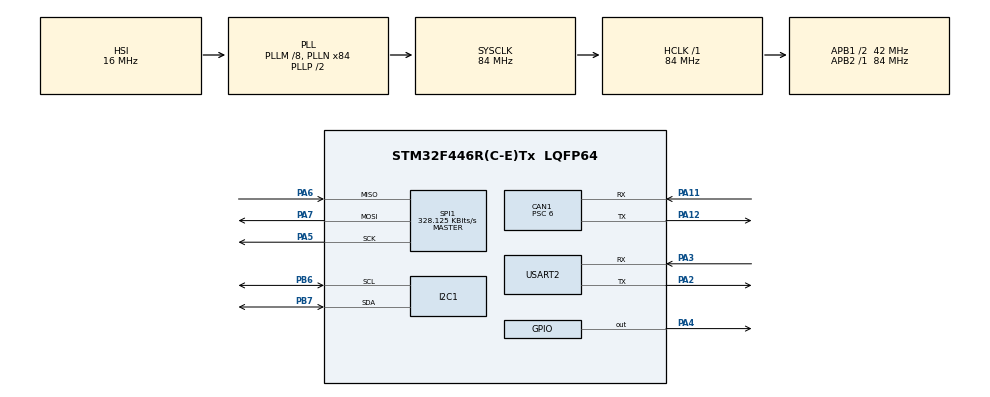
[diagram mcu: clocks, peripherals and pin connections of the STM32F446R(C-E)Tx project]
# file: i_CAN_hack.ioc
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CAN1.ABOM=ENABLE
CAN1.BS1=CAN_BS1_11TQ
CAN1.BS2=CAN_BS2_2TQ
CAN1.CalculateBaudRate=500000
CAN1.CalculateTimeBit=2000
CAN1.CalculateTimeQuantum=142.85714285714286
CAN1.Mode=CAN_MODE_NORMAL
CAN1.NART=ENABLE
CAN1.Prescaler=6
CAN1.SJW=CAN_SJW_1TQ
FREERTOS.INCLUDE_vTaskDelayUntil=1
FREERTOS.Tasks01=defaultTask,0,128,StartDefaultTask,Default,NULL,Dynamic,NULL,NULL
FREERTOS.configUSE_NEWLIB_REENTRANT=1
I2C1.I2C_Mode=I2C_Fast
Mcu.Family=STM32F4
Mcu.Name=STM32F446R(C-E)Tx
Mcu.Package=LQFP64
NVIC.CAN1_RX0_IRQn=true\:6\:0\:true\:false\:true\:true\:true\:true\:true
NVIC.PriorityGroup=NVIC_PRIORITYGROUP_4
NVIC.TIM6_DAC_IRQn=true\:15\:0\:false\:false\:true\:false\:false\:true\:true
NVIC.TimeBase=TIM6_DAC_IRQn
NVIC.TimeBaseIP=TIM6
NVIC.USART2_IRQn=true\:6\:0\:true\:false\:true\:true\:true\:true\:true
PA11.Mode=CAN_Activate
PA11.Signal=CAN1_RX
PA12.Mode=CAN_Activate
PA12.Signal=CAN1_TX
PA2.Mode=Asynchronous
PA2.Signal=USART2_TX
PA3.Mode=Asynchronous
PA3.Signal=USART2_RX
PA4.Signal=GPIO_Output
PA5.Mode=Full_Duplex_Master
PA5.Signal=SPI1_SCK
PA6.GPIO_PuPd=GPIO_PULLUP
PA6.Mode=Full_Duplex_Master
PA6.Signal=SPI1_MISO
PA7.Mode=Full_Duplex_Master
PA7.Signal=SPI1_MOSI
PB6.Mode=I2C
PB6.Signal=I2C1_SCL
PB7.Mode=I2C
PB7.Signal=I2C1_SDA
ProjectManager.HeapSize=0x200
ProjectManager.StackSize=0x400
ProjectManager.TargetToolchain=STM32CubeIDE
RCC.AHBFreq_Value=84000000
RCC.APB1CLKDivider=RCC_HCLK_DIV2
RCC.APB1Freq_Value=42000000
RCC.APB1TimFreq_Value=84000000
RCC.APB2Freq_Value=84000000
RCC.APB2TimFreq_Value=84000000
RCC.CortexFreq_Value=84000000
RCC.HCLKFreq_Value=84000000
RCC.PLLM=8
RCC.PLLN=84
RCC.SYSCLKFreq_VALUE=84000000
RCC.SYSCLKSource=RCC_SYSCLKSOURCE_PLLCLK
RCC.USBFreq_Value=84000000
RCC.VCOOutputFreq_Value=168000000
SPI1.BaudRatePrescaler=SPI_BAUDRATEPRESCALER_256
SPI1.CalculateBaudRate=328.125 KBits/s
SPI1.Direction=SPI_DIRECTION_2LINES
SPI1.Mode=SPI_MODE_MASTER
SPI1.VirtualType=VM_MASTER
USART2.VirtualMode=VM_ASYNC
VP_FATFS_VS_Generic.Mode=User_defined
VP_FREERTOS_VS_CMSIS_V1.Mode=CMSIS_V1
VP_SYS_VS_tim6.Mode=TIM6
board=custom

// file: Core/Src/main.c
/* USER CODE BEGIN Header */
/**
  ******************************************************************************
  * @file           : main.c
  * @brief          : Main program body
  ******************************************************************************
  * @attention
  *
  * Copyright (c) 2026 STMicroelectronics.
  * All rights reserved.
  *
  * This software is licensed under terms that can be found in the LICENSE file
  * in the root directory of this software component.
  * If no LICENSE file comes with this software, it is provided AS-IS.
  *
  ******************************************************************************
  */
/* USER CODE END Header */
#include "main.h"
#include "cmsis_os.h"
#include "fatfs.h"

/* USER CODE BEGIN Includes */
#include "app.h"
#include <stm32f4xx_hal_can.h>
#include <string.h>
#include <stdio.h>
#include "FreeRTOS.h"
#include "task.h"
#include "queue.h"
#include "stream_buffer.h"
#include <stdlib.h>
#include "ssd1306.h"
#include "ssd1306_fonts.h"
#include "anomaly.h"
#include "sd_spi.h"
#include "sd_logger.h"
/* USER CODE END Includes */

CAN_HandleTypeDef hcan1;

I2C_HandleTypeDef hi2c1;

SPI_HandleTypeDef hspi1;

UART_HandleTypeDef huart2;

osThreadId defaultTaskHandle;
/* USER CODE BEGIN PV */
TaskHandle_t canTaskHandle;
TaskHandle_t cliTaskHandle;
TaskHandle_t loggerTaskHandle;
TaskHandle_t oledTaskHandle;
TaskHandle_t statsTaskHandle;
TaskHandle_t sdTaskHandle;

QueueHandle_t canRxQueue;   /* CAN ISR -> CanTask */
QueueHandle_t logQueue;     /* producers -> LoggerTask */

volatile uint32_t statTotalFrames = 0;

/* OLED dashboard: single source of truth for displayed data + its mutex.
 * Producers publish a snapshot under g_oledMutex; OledTask reads a copy. */
OledTelemetry_t   g_oledTel;
SemaphoreHandle_t g_oledMutex;
QueueHandle_t     oledAlertQueue;
volatile int32_t  g_pageRequest = -1;
volatile int32_t  g_pageRequestIsSnap = 0;

StreamBufferHandle_t uartRxStream;   /* UART ISR -> CliTask */
uint8_t uartRxByte;                  /* single-byte HAL_UART_Receive_IT target */

/* Menu/command state owned by CliTask (defined in app.c). */
extern LoggerMode_t currentMode;
extern UART_State_t uartState;
extern uint32_t userFilterID;
extern uint8_t  filterConfigured;
extern char     filterInputBuffer[10];
extern uint8_t  filterInputIndex;
extern char     txInputBuffer[50];
extern uint8_t  txInputIndex;
extern volatile uint32_t speedFrameCount;
extern uint32_t lastSpeedPrintTick;
extern uint8_t  Logger_ShouldLog(uint32_t id);
/* USER CODE END PV */

void SystemClock_Config(void);
static void MX_GPIO_Init(void);
static void MX_CAN1_Init(void);
static void MX_USART2_UART_Init(void);
static void MX_I2C1_Init(void);
static void MX_SPI1_Init(void);
void StartDefaultTask(void const * argument);

/* USER CODE BEGIN PFP */
void StartCanTask(void *argument);
void StartCliTask(void *argument);
void StartLoggerTask(void *argument);
void StartOledTask(void *argument);
void StartStatsTask(void *argument);
/* StartSdTask is declared in sd_logger.h */
/* USER CODE END PFP */

int main(void)
{

  /* MCU Configuration--------------------------------------------------------*/

  /* Reset of all peripherals, Initializes the Flash interface and the Systick. */
  HAL_Init();

  /* Configure the system clock */
  SystemClock_Config();

  /* Initialize all configured peripherals */
  MX_GPIO_Init();
  MX_CAN1_Init();
  MX_USART2_UART_Init();
  MX_I2C1_Init();
  MX_SPI1_Init();
  MX_FATFS_Init();
  /* USER CODE BEGIN 2 */
  char test[] = "UART OK\r\n";
  HAL_UART_Transmit(&huart2, (uint8_t *)test, sizeof(test)-1, HAL_MAX_DELAY);

  /* Start CAN with RX FIFO0 notification (the ISR feeds canRxQueue). */
  CAN1_FilterConfig();
  if (HAL_CAN_Start(&hcan1) != HAL_OK)
  {
    Error_Handler();
  }
  HAL_CAN_ActivateNotification(&hcan1, CAN_IT_RX_FIFO0_MSG_PENDING);

  /* Arm UART RX interrupt (the ISR feeds uartRxStream). */
  HAL_UART_Receive_IT(&huart2, &uartRxByte, 1);
  /* USER CODE END 2 */

  /* USER CODE BEGIN RTOS_QUEUES */
  canRxQueue = xQueueCreate(16, sizeof(CanFrame_t));
  if (canRxQueue == NULL)
  {
    Error_Handler();
  }

  uartRxStream = xStreamBufferCreate(64, 1);   /* 64 bytes, trigger level 1 */
  if (uartRxStream == NULL)
  {
    Error_Handler();
  }

  logQueue = xQueueCreate(16, sizeof(LogMsg_t));
  if (logQueue == NULL)
  {
    Error_Handler();
  }

  /* OLED dashboard: mutex for the shared telemetry struct + alert queue. */
  g_oledMutex = xSemaphoreCreateMutex();
  if (g_oledMutex == NULL)
  {
    Error_Handler();
  }

  oledAlertQueue = xQueueCreate(4, sizeof(OledAlert_t));
  if (oledAlertQueue == NULL)
  {
    Error_Handler();
  }

  /* Telemetry starts zeroed; mode reflects the boot default. */
  memset(&g_oledTel, 0, sizeof(g_oledTel));
  g_oledTel.mode = currentMode;

  /* Phase B: start anomaly detection + its auto-learn window. */
  Anomaly_Init(HAL_GetTick());

  /* SD logging: record queue + logger state (file opened lazily by SdTask). */
  sdQueue = xQueueCreate(32, sizeof(SdRecord_t));
  if (sdQueue == NULL)
  {
    Error_Handler();
  }
  SD_Logger_Init();
  /* USER CODE END RTOS_QUEUES */

  /* Create the thread(s) */
  /* definition and creation of defaultTask */
  osThreadDef(defaultTask, StartDefaultTask, osPriorityNormal, 0, 128);
  defaultTaskHandle = osThreadCreate(osThread(defaultTask), NULL);

  /* USER CODE BEGIN RTOS_THREADS */
  xTaskCreate(StartCanTask,    "CanTask",    256, NULL, tskIDLE_PRIORITY + 3, &canTaskHandle);
  xTaskCreate(StartCliTask,    "CliTask",    256, NULL, tskIDLE_PRIORITY + 2, &cliTaskHandle);
  xTaskCreate(StartLoggerTask, "LoggerTask", 256, NULL, tskIDLE_PRIORITY + 1, &loggerTaskHandle);
  xTaskCreate(StartOledTask,   "OledTask",   256, NULL, tskIDLE_PRIORITY + 1, &oledTaskHandle);
  xTaskCreate(StartStatsTask,  "StatsTask",  128, NULL, tskIDLE_PRIORITY + 1, &statsTaskHandle);
  /* SD logger task: larger stack for FatFs (f_write/f_sync use ~512B sector ops). */
  xTaskCreate(StartSdTask,     "SdTask",     512, NULL, tskIDLE_PRIORITY + 1, &sdTaskHandle);
  /* USER CODE END RTOS_THREADS */

  /* Start scheduler */
  osKernelStart();

  /* We should never get here as control is now taken by the scheduler */

  /* Infinite loop */
  while (1)
  {

  }
}

void SystemClock_Config(void)
{
  RCC_OscInitTypeDef RCC_OscInitStruct = {0};
  RCC_ClkInitTypeDef RCC_ClkInitStruct = {0};

  /** Configure the main internal regulator output voltage
  */
  __HAL_RCC_PWR_CLK_ENABLE();
  __HAL_PWR_VOLTAGESCALING_CONFIG(PWR_REGULATOR_VOLTAGE_SCALE3);

  /** Initializes the RCC Oscillators according to the specified parameters
  * in the RCC_OscInitTypeDef structure.
  */
  RCC_OscInitStruct.OscillatorType = RCC_OSCILLATORTYPE_HSI;
  RCC_OscInitStruct.HSIState = RCC_HSI_ON;
  RCC_OscInitStruct.HSICalibrationValue = RCC_HSICALIBRATION_DEFAULT;
  RCC_OscInitStruct.PLL.PLLState = RCC_PLL_ON;
  RCC_OscInitStruct.PLL.PLLSource = RCC_PLLSOURCE_HSI;
  RCC_OscInitStruct.PLL.PLLM = 8;
  RCC_OscInitStruct.PLL.PLLN = 84;
  RCC_OscInitStruct.PLL.PLLP = RCC_PLLP_DIV2;
  RCC_OscInitStruct.PLL.PLLQ = 2;
  RCC_OscInitStruct.PLL.PLLR = 2;
  if (HAL_RCC_OscConfig(&RCC_OscInitStruct) != HAL_OK)
  {
    Error_Handler();
  }

  /** Initializes the CPU, AHB and APB buses clocks
  */
  RCC_ClkInitStruct.ClockType = RCC_CLOCKTYPE_HCLK|RCC_CLOCKTYPE_SYSCLK
                              |RCC_CLOCKTYPE_PCLK1|RCC_CLOCKTYPE_PCLK2;
  RCC_ClkInitStruct.SYSCLKSource = RCC_SYSCLKSOURCE_PLLCLK;
  RCC_ClkInitStruct.AHBCLKDivider = RCC_SYSCLK_DIV1;
  RCC_ClkInitStruct.APB1CLKDivider = RCC_HCLK_DIV2;
  RCC_ClkInitStruct.APB2CLKDivider = RCC_HCLK_DIV1;

  if (HAL_RCC_ClockConfig(&RCC_ClkInitStruct, FLASH_LATENCY_2) != HAL_OK)
  {
    Error_Handler();
  }
}

static void MX_CAN1_Init(void)
{

  hcan1.Instance = CAN1;
  hcan1.Init.Prescaler = 6;
  hcan1.Init.Mode = CAN_MODE_NORMAL;
  hcan1.Init.SyncJumpWidth = CAN_SJW_1TQ;
  hcan1.Init.TimeSeg1 = CAN_BS1_11TQ;
  hcan1.Init.TimeSeg2 = CAN_BS2_2TQ;
  hcan1.Init.TimeTriggeredMode = DISABLE;
  hcan1.Init.AutoBusOff = ENABLE;
  hcan1.Init.AutoWakeUp = DISABLE;
  hcan1.Init.AutoRetransmission = ENABLE;
  hcan1.Init.ReceiveFifoLocked = DISABLE;
  hcan1.Init.TransmitFifoPriority = DISABLE;
  if (HAL_CAN_Init(&hcan1) != HAL_OK)
  {
    Error_Handler();
  }
  /* USER CODE BEGIN CAN1_Init 2 */
  /* CAN clock = APB1 = 42 MHz; 42MHz / (6 * (1+11+2)TQ) = 500 kbps */
  /* USER CODE END CAN1_Init 2 */

}

static void MX_I2C1_Init(void)
{

  hi2c1.Instance = I2C1;
  hi2c1.Init.ClockSpeed = 400000;
  hi2c1.Init.DutyCycle = I2C_DUTYCYCLE_2;
  hi2c1.Init.OwnAddress1 = 0;
  hi2c1.Init.AddressingMode = I2C_ADDRESSINGMODE_7BIT;
  hi2c1.Init.DualAddressMode = I2C_DUALADDRESS_DISABLE;
  hi2c1.Init.OwnAddress2 = 0;
  hi2c1.Init.GeneralCallMode = I2C_GENERALCALL_DISABLE;
  hi2c1.Init.NoStretchMode = I2C_NOSTRETCH_DISABLE;
  if (HAL_I2C_Init(&hi2c1) != HAL_OK)
  {
    Error_Handler();
  }

}

static void MX_SPI1_Init(void)
{

  /* SPI1 parameter configuration*/
  hspi1.Instance = SPI1;
  hspi1.Init.Mode = SPI_MODE_MASTER;
  hspi1.Init.Direction = SPI_DIRECTION_2LINES;
  hspi1.Init.DataSize = SPI_DATASIZE_8BIT;
  hspi1.Init.CLKPolarity = SPI_POLARITY_LOW;
  hspi1.Init.CLKPhase = SPI_PHASE_1EDGE;
  hspi1.Init.NSS = SPI_NSS_SOFT;
  hspi1.Init.BaudRatePrescaler = SPI_BAUDRATEPRESCALER_256;
  hspi1.Init.FirstBit = SPI_FIRSTBIT_MSB;
  hspi1.Init.TIMode = SPI_TIMODE_DISABLE;
  hspi1.Init.CRCCalculation = SPI_CRCCALCULATION_DISABLE;
  hspi1.Init.CRCPolynomial = 10;
  if (HAL_SPI_Init(&hspi1) != HAL_OK)
  {
    Error_Handler();
  }

}

static void MX_USART2_UART_Init(void)
{

  huart2.Instance = USART2;
  huart2.Init.BaudRate = 115200;
  huart2.Init.WordLength = UART_WORDLENGTH_8B;
  huart2.Init.StopBits = UART_STOPBITS_1;
  huart2.Init.Parity = UART_PARITY_NONE;
  huart2.Init.Mode = UART_MODE_TX_RX;
  huart2.Init.HwFlowCtl = UART_HWCONTROL_NONE;
  huart2.Init.OverSampling = UART_OVERSAMPLING_16;
  if (HAL_UART_Init(&huart2) != HAL_OK)
  {
    Error_Handler();
  }

}

static void MX_GPIO_Init(void)
{
  GPIO_InitTypeDef GPIO_InitStruct = {0};

  /* GPIO Ports Clock Enable */
  __HAL_RCC_GPIOA_CLK_ENABLE();
  __HAL_RCC_GPIOB_CLK_ENABLE();

  /*Configure GPIO pin Output Level */
  HAL_GPIO_WritePin(GPIOA, GPIO_PIN_4, GPIO_PIN_RESET);

  /*Configure GPIO pin : PA4 */
  GPIO_InitStruct.Pin = GPIO_PIN_4;
  GPIO_InitStruct.Mode = GPIO_MODE_OUTPUT_PP;
  GPIO_InitStruct.Pull = GPIO_NOPULL;
  GPIO_InitStruct.Speed = GPIO_SPEED_FREQ_LOW;
  HAL_GPIO_Init(GPIOA, &GPIO_InitStruct);

  /* USER CODE BEGIN MX_GPIO_Init_2 */
  /* PA5 is SPI1_SCK for the SD card (configured by MX_SPI1_Init), so the old
   * LED GPIO-output setup that used to live here was removed - driving SCK as
   * a GPIO output would conflict with SPI. CS (PA4) is configured above. */
  /* USER CODE END MX_GPIO_Init_2 */
}

/* USER CODE BEGIN 4 */

/* Lean CAN RX ISR: read the frame and push it onto canRxQueue. All
 * filtering/logging/stats happen in CanTask. */
void HAL_CAN_RxFifo0MsgPendingCallback(CAN_HandleTypeDef *hcan)
{
  CAN_RxHeaderTypeDef rxHeader;
  uint8_t rxData[8];

  if (HAL_CAN_GetRxMessage(hcan, CAN_RX_FIFO0, &rxHeader, rxData) != HAL_OK)
  {
    return;
  }

  CanFrame_t frame;
  frame.id = (rxHeader.IDE == CAN_ID_STD) ? rxHeader.StdId : rxHeader.ExtId;
  frame.dlc = rxHeader.DLC;
  frame.timestamp = HAL_GetTick();
  memcpy(frame.data, rxData, 8);

  BaseType_t higherPriorityTaskWoken = pdFALSE;
  xQueueSendFromISR(canRxQueue, &frame, &higherPriorityTaskWoken);
  portYIELD_FROM_ISR(higherPriorityTaskWoken);
}

/* Enqueue a string for LoggerTask to transmit. Safe from any task; drops the
 * message if logQueue is full rather than blocking the producer. */
void Log_Send(const char *text)
{
  LogMsg_t m;
  size_t len = strlen(text);
  if (len >= sizeof(m.text))
  {
    len = sizeof(m.text) - 1;
  }
  memcpy(m.text, text, len);
  m.text[len] = '\0';
  m.len = (uint16_t)len;
  xQueueSend(logQueue, &m, 0);
}

/* CanTask: mode-aware consumer of canRxQueue. Applies READ_ALL / FILTERED /
 * SPEEDTEST / IDLE logic, runs anomaly detection, routes output via logQueue
 * and the SD logger, and publishes the OLED telemetry snapshot. */
void StartCanTask(void *argument)
{
  CanFrame_t frame;
  char line[120];

  /* Local counters - updated cheaply on every frame WITHOUT taking the mutex.
   * A snapshot is published into g_oledTel every OLED_PUBLISH_MS so the shared
   * struct (and thus the display) is the single source of truth, but the
   * mutex is only contended ~10x/sec instead of once per CAN frame. */
  uint32_t locTotal    = 0;
  uint32_t locLogged   = 0;
  uint32_t locFiltered = 0;
  uint32_t locDropped  = 0;
  uint32_t locLastId   = 0;
  uint8_t  locLastDlc  = 0;
  uint8_t  locLastData[8] = {0};
  uint8_t  locHaveFrame = 0;

  const TickType_t OLED_PUBLISH_MS = pdMS_TO_TICKS(100);
  TickType_t lastPublish = xTaskGetTickCount();

  for(;;)
  {
    uint8_t frameArrived = 0;

    /* Wait up to one publish interval for a frame. The short timeout means we
     * still publish telemetry on schedule even when the bus is idle. */
    if (xQueueReceive(canRxQueue, &frame, OLED_PUBLISH_MS) == pdTRUE)
    {
      frameArrived = 1;
      statTotalFrames++;
      locTotal++;
      locLastId   = frame.id;
      locLastDlc  = frame.dlc;
      memcpy(locLastData, frame.data, 8);
      locHaveFrame = 1;

      switch (currentMode)
      {
        case MODE_SPEEDTEST:
          /* Count only; the Logger task prints the per-second rate. */
          speedFrameCount++;
          locLogged++;
          break;

        case MODE_IDLE:
        case MODE_WRITE:
          /* Frames are not logged in these modes; count as dropped. */
          locDropped++;
          break;

        case MODE_READ_FILTERED:
          if (!Logger_ShouldLog(frame.id))
          {
            /* Filtered out by the active filter (non-match). */
            locFiltered++;
            break;
          }
          /* fall-through: matched filter -> log it */

        case MODE_READ_ALL:
        default:
        {
          locLogged++;
          int n = snprintf(line, sizeof(line),
                           "T:%lu ID:0x%lX DLC:%d DATA:",
                           (unsigned long)frame.timestamp,
                           (unsigned long)frame.id,
                           frame.dlc);
          for (int i = 0; i < frame.dlc && n < (int)sizeof(line) - 4; i++)
          {
            n += snprintf(line + n, sizeof(line) - n, "%02X ", frame.data[i]);
          }
          snprintf(line + n, sizeof(line) - n, "\r\n");
          Log_Send(line);
          /* SD: mirror logged frames to the CSV (respects the same mode rules
           * as UART - only frames we actually log reach here). No-op if SD
           * logging is stopped. */
          SD_Log_Frame(frame.id, frame.dlc, frame.data, frame.timestamp);
          break;
        }
      }
    }

    /* Phase B: anomaly detection. ProcessFrame runs only when a frame arrived;
     * Tick runs every loop to evaluate the rolling flood window even when idle.
     * Both call OLED_RaiseAlert(...) internally on detection. */
    {
      uint32_t nowMs = HAL_GetTick();
      if (frameArrived)
      {
        Anomaly_ProcessFrame(frame.id, frame.dlc, frame.data, nowMs);
      }
      Anomaly_Tick(nowMs);
    }

    /* Publish a telemetry snapshot every ~100 ms (single source of truth). */
    TickType_t now = xTaskGetTickCount();
    if ((now - lastPublish) >= OLED_PUBLISH_MS)
    {
      lastPublish = now;
      if (xSemaphoreTake(g_oledMutex, 0) == pdTRUE)
      {
        g_oledTel.mode       = currentMode;
        g_oledTel.total      = locTotal;
        g_oledTel.logged     = locLogged;
        g_oledTel.sd_logged  = SD_Logger_FramesLogged();
        g_oledTel.filtered   = locFiltered;
        g_oledTel.dropped    = locDropped;
        g_oledTel.have_frame = locHaveFrame;
        g_oledTel.last_id    = locLastId;
        g_oledTel.last_dlc   = locLastDlc;
        memcpy(g_oledTel.last_data, locLastData, 8);
        g_oledTel.filter_id  = userFilterID;
        g_oledTel.filter_set = filterConfigured;
        xSemaphoreGive(g_oledMutex);
      }
      /* If the mutex was momentarily held, skip this publish; the next tick
       * (100 ms later) will catch up. No data is lost - counters are local. */
    }
  }
}

/* LoggerTask: the only task that calls HAL_UART_Transmit. Drains logQueue and
 * transmits each message; emits the per-second rate in SPEEDTEST mode. */
void StartLoggerTask(void *argument)
{
  LogMsg_t m;

  for(;;)
  {
    /* Wait up to 100ms for a log message so we can also service speed-test. */
    if (xQueueReceive(logQueue, &m, pdMS_TO_TICKS(100)) == pdTRUE)
    {
      HAL_UART_Transmit(&huart2, (uint8_t *)m.text, m.len, HAL_MAX_DELAY);
    }

    /* Speed-test: print frames/sec once per second. */
    if (currentMode == MODE_SPEEDTEST &&
        (HAL_GetTick() - lastSpeedPrintTick) >= 1000)
    {
      char rate[40];
      uint32_t count;

      taskENTER_CRITICAL();
      count = speedFrameCount;
      speedFrameCount = 0;
      taskEXIT_CRITICAL();

      int n = snprintf(rate, sizeof(rate), "Frames/sec: %lu\r\n", (unsigned long)count);
      HAL_UART_Transmit(&huart2, (uint8_t *)rate, n, HAL_MAX_DELAY);
      lastSpeedPrintTick = HAL_GetTick();
    }
  }
}

/* ===========================================================================
 * OLED dashboard helpers
 * =========================================================================== */

/* Human-readable mode names, indexed by LoggerMode_t. */
static const char *const oledModeNames[] = {
  "READ ALL", "FILTER", "SPEED", "IDLE", "WRITE"
};

/* Rotating activity indicator glyphs. */
static const char oledSpinner[] = { '|', '/', '-', '\\' };

/* Map a logger mode to the page that should follow it automatically. */
static OLED_Page_t OledPageForMode(LoggerMode_t m)
{
  switch (m)
  {
    case MODE_READ_FILTERED: return OLED_PAGE_FILTER;
    case MODE_SPEEDTEST:     return OLED_PAGE_SPEED;
    case MODE_READ_ALL:
    case MODE_IDLE:
    case MODE_WRITE:
    default:                 return OLED_PAGE_MAIN;
  }
}

static const char *OledAlertTypeName(AlertType_t t);   /* fwd decl */

/* Raise an alert (stub hook for future anomaly detectors). Task context only -
 * never call from an ISR. Non-blocking: drops the alert if the queue is full. */
void OLED_RaiseAlert(AlertType_t type, uint32_t id, uint8_t severity)
{
  OledAlert_t a;
  a.type = type;
  a.id = id;
  a.severity = severity;
  if (oledAlertQueue != NULL)
  {
    (void)xQueueSend(oledAlertQueue, &a, 0);
  }
  /* SD: alerts are always logged regardless of mode (no-op if SD off). */
  SD_Log_Alert(type, id, severity, HAL_GetTick());

  /* UART: print every alert to the serial console (via the Logger task). */
  {
    char msg[48];
    snprintf(msg, sizeof(msg), "ALERT: %s id=0x%lX sev=%u\r\n",
             OledAlertTypeName(type), (unsigned long)id, (unsigned)severity);
    Log_Send(msg);
  }
}

static const char *OledAlertTypeName(AlertType_t t)
{
  switch (t)
  {
    case ALERT_UNKNOWN_ID: return "UNKNOWN ID";
    case ALERT_FLOOD:      return "FLOOD";
    case ALERT_TIMING:     return "TIMING";
    case ALERT_PAYLOAD:    return "PAYLOAD";
    case ALERT_NONE:
    default:               return "NONE";
  }
}

/* --- Page 1: MAIN ---------------------------------------------------------- */
void OLED_DrawMainPage(const OledTelemetry_t *t, uint8_t spin)
{
  char line[24];

  ssd1306_SetCursor(0, 0);
  ssd1306_WriteString("CAN IDS", Font_7x10, White);
  /* SD status flag in the title bar: "SD" shown when logging is active,
   * blanked when off (small font, left of the spinner). */
  if (SD_Logger_IsActive())
  {
    ssd1306_SetCursor(96, 1);
    ssd1306_WriteString("SD", Font_6x8, White);
  }
  line[0] = oledSpinner[spin & 0x03];
  line[1] = '\0';
  ssd1306_SetCursor(120, 0);
  ssd1306_WriteString(line, Font_7x10, White);
  ssd1306_Line(0, 12, 127, 12, White);

  snprintf(line, sizeof(line), "MODE: %s",
           (t->mode <= MODE_WRITE) ? oledModeNames[t->mode] : "?");
  ssd1306_SetCursor(0, 16);
  ssd1306_WriteString(line, Font_6x8, White);

  if (t->have_frame)
    snprintf(line, sizeof(line), "FPS:%lu  LAST:%lX",
             (unsigned long)t->fps, (unsigned long)t->last_id);
  else
    snprintf(line, sizeof(line), "FPS:%lu  LAST:---",
             (unsigned long)t->fps);
  ssd1306_SetCursor(0, 28);
  ssd1306_WriteString(line, Font_6x8, White);

  snprintf(line, sizeof(line), "ALRT:%s  DROP:%lu",
           t->alert_active ? "!!" : "OK", (unsigned long)t->dropped);
  ssd1306_SetCursor(0, 40);
  ssd1306_WriteString(line, Font_6x8, White);

  /* Bottom row (y=52): latest CAN frame on a single line, small font:
   * "<id>:<b0><b1>..."  e.g. "1A3:DA7E001F". Truncated to fit 21 chars. */
  if (t->have_frame)
  {
    char *p = line;
    p += snprintf(p, sizeof(line), "%lX:", (unsigned long)t->last_id);
    uint8_t n = (t->last_dlc > 8) ? 8 : t->last_dlc;
    for (uint8_t i = 0; i < n && (p - line) < (int)sizeof(line) - 3; i++)
    {
      p += snprintf(p, sizeof(line) - (p - line), "%02X", t->last_data[i]);
    }
  }
  else
  {
    snprintf(line, sizeof(line), "----");
  }
  ssd1306_SetCursor(0, 52);
  ssd1306_WriteString(line, Font_6x8, White);
}

/* --- Page 2: FILTER -------------------------------------------------------- */
void OLED_DrawFilterPage(const OledTelemetry_t *t, uint8_t spin)
{
  char line[24];
  (void)spin;

  ssd1306_SetCursor(0, 0);
  ssd1306_WriteString("MODE: FILTER", Font_7x10, White);
  ssd1306_Line(0, 12, 127, 12, White);

  if (t->filter_set)
    snprintf(line, sizeof(line), "FILT: 0x%lX", (unsigned long)t->filter_id);
  else
    snprintf(line, sizeof(line), "FILT: ---");
  ssd1306_SetCursor(0, 18);
  ssd1306_WriteString(line, Font_6x8, White);

  snprintf(line, sizeof(line), "RX  : %lu", (unsigned long)t->logged);
  ssd1306_SetCursor(0, 30);
  ssd1306_WriteString(line, Font_6x8, White);

  snprintf(line, sizeof(line), "DROP: %lu", (unsigned long)t->dropped);
  ssd1306_SetCursor(0, 42);
  ssd1306_WriteString(line, Font_6x8, White);
}

/* --- Page 3: SPEED --------------------------------------------------------- */
void OLED_DrawSpeedPage(const OledTelemetry_t *t, uint8_t spin)
{
  char line[24];
  (void)spin;

  ssd1306_SetCursor(0, 0);
  ssd1306_WriteString("MODE: SPEED", Font_7x10, White);
  ssd1306_Line(0, 12, 127, 12, White);

  /* Hero FPS number in the larger font. */
  snprintf(line, sizeof(line), "FPS : %lu", (unsigned long)t->fps);
  ssd1306_SetCursor(0, 16);
  ssd1306_WriteString(line, Font_7x10, White);

  snprintf(line, sizeof(line), "PEAK: %lu", (unsigned long)t->peak_fps);
  ssd1306_SetCursor(0, 32);
  ssd1306_WriteString(line, Font_6x8, White);

  snprintf(line, sizeof(line), "TOTAL: %lu", (unsigned long)t->total);
  ssd1306_SetCursor(0, 44);
  ssd1306_WriteString(line, Font_6x8, White);
}

/* --- Page 4: ALERT (overlay) ----------------------------------------------- */
void OLED_DrawAlertPage(const OledAlert_t *a, uint8_t spin)
{
  char line[24];

  ssd1306_DrawRectangle(0, 0, 127, 63, White);

  /* Blink the banner using the spinner phase. */
  if (spin & 0x01)
  {
    ssd1306_SetCursor(14, 4);
    ssd1306_WriteString("!!! ALERT !!!", Font_7x10, White);
  }

  snprintf(line, sizeof(line), "TYPE: %s", OledAlertTypeName(a->type));
  ssd1306_SetCursor(6, 22);
  ssd1306_WriteString(line, Font_6x8, White);

  snprintf(line, sizeof(line), "ID  : 0x%lX", (unsigned long)a->id);
  ssd1306_SetCursor(6, 34);
  ssd1306_WriteString(line, Font_6x8, White);

  snprintf(line, sizeof(line), "SEV : %u", (unsigned)a->severity);
  ssd1306_SetCursor(6, 46);
  ssd1306_WriteString(line, Font_6x8, White);
}

/* --- Page 5: STATS --------------------------------------------------------- */
void OLED_DrawStatsPage(const OledTelemetry_t *t, uint8_t spin)
{
  char line[24];
  (void)spin;

  ssd1306_SetCursor(0, 0);
  ssd1306_WriteString("STATS", Font_7x10, White);
  /* SD logging status in the title bar. */
  ssd1306_SetCursor(72, 1);
  ssd1306_WriteString(SD_Logger_IsActive() ? "SD:ON"
                      : (SD_Logger_HasError() ? "SD:ERR" : "SD:OFF"),
                      Font_6x8, White);
  ssd1306_Line(0, 12, 127, 12, White);

  snprintf(line, sizeof(line), "TOTAL: %lu", (unsigned long)t->total);
  ssd1306_SetCursor(0, 16);
  ssd1306_WriteString(line, Font_6x8, White);

  snprintf(line, sizeof(line), "UART : %lu", (unsigned long)t->logged);
  ssd1306_SetCursor(0, 28);
  ssd1306_WriteString(line, Font_6x8, White);

  snprintf(line, sizeof(line), "SD   : %lu", (unsigned long)t->sd_logged);
  ssd1306_SetCursor(0, 40);
  ssd1306_WriteString(line, Font_6x8, White);

  snprintf(line, sizeof(line), "DROP : %lu", (unsigned long)t->dropped);
  ssd1306_SetCursor(0, 52);
  ssd1306_WriteString(line, Font_6x8, White);
}

/* Dispatch to the active page renderer. Caller has already cleared the frame. */
void OLED_DrawPage(OLED_Page_t page, const OledTelemetry_t *t,
                   const OledAlert_t *a, uint8_t spin)
{
  switch (page)
  {
    case OLED_PAGE_FILTER: OLED_DrawFilterPage(t, spin); break;
    case OLED_PAGE_SPEED:  OLED_DrawSpeedPage(t, spin);  break;
    case OLED_PAGE_STATS:  OLED_DrawStatsPage(t, spin);  break;
    case OLED_PAGE_ALERT:  OLED_DrawAlertPage(a, spin);  break;
    case OLED_PAGE_MAIN:
    default:               OLED_DrawMainPage(t, spin);   break;
  }
}

/* OledTask: drives the SSD1306 (128x64, I2C1 @ 0x3C, SCL=PB6 / SDA=PB7).
 * Reads the telemetry snapshot at 10 Hz, selects the active page (mode-follow,
 * manual 'p' lock, or alert overlay), renders it, and computes fps/peak. */
void StartOledTask(void *argument)
{
  OledTelemetry_t t;                 /* local snapshot */
  OledAlert_t     curAlert = {0};    /* latched alert being displayed */

  OLED_Page_t activePage = OLED_PAGE_MAIN;
  OLED_Page_t prevPage    = OLED_PAGE_MAIN;  /* page to restore after an alert */
  uint8_t     manualLock  = 0;               /* 'p' lock active */
  uint8_t     inAlert     = 0;
  TickType_t  alertDeadline = 0;

  uint8_t     spin        = 0;
  uint32_t    lastTotal   = 0;       /* total at last fps sample */
  uint32_t    peakFps     = 0;
  TickType_t  lastFpsTick = xTaskGetTickCount();

  /* The panel needs I2C up; MX_I2C1_Init() already ran in main(). */
  ssd1306_Init();

  for(;;)
  {
    TickType_t now = xTaskGetTickCount();

    /* 1) Snapshot telemetry under the mutex (copy only, no rendering). */
    if (xSemaphoreTake(g_oledMutex, pdMS_TO_TICKS(5)) == pdTRUE)
    {
      t = g_oledTel;
      xSemaphoreGive(g_oledMutex);
    }

    /* 2) Compute fps from the total delta once per second; latch the peak. */
    if ((now - lastFpsTick) >= pdMS_TO_TICKS(1000))
    {
      uint32_t fps = t.total - lastTotal;
      lastTotal = t.total;
      lastFpsTick = now;
      if (fps > peakFps) peakFps = fps;

      /* Publish fps/peak back so other readers see the same numbers. */
      if (xSemaphoreTake(g_oledMutex, pdMS_TO_TICKS(5)) == pdTRUE)
      {
        g_oledTel.fps = fps;
        g_oledTel.peak_fps = peakFps;
        xSemaphoreGive(g_oledMutex);
      }
      t.fps = fps;
      t.peak_fps = peakFps;
    }

    /* 3) Drain alerts (non-blocking); newest wins, refreshes the 3s timer. */
    {
      OledAlert_t a;
      uint8_t gotAlert = 0;
      while (xQueueReceive(oledAlertQueue, &a, 0) == pdTRUE)
      {
        curAlert = a;
        gotAlert = 1;
      }
      if (gotAlert)
      {
        if (!inAlert)
        {
          prevPage = activePage;   /* remember where to return */
          inAlert = 1;
        }
        activePage = OLED_PAGE_ALERT;
        alertDeadline = now + pdMS_TO_TICKS(3000);
        /* latch the status flag into the shared struct */
        if (xSemaphoreTake(g_oledMutex, pdMS_TO_TICKS(5)) == pdTRUE)
        {
          g_oledTel.alert_active = 1;
          xSemaphoreGive(g_oledMutex);
        }
        t.alert_active = 1;
      }
    }

    /* 4) Page selection. */
    if (inAlert)
    {
      if ((int32_t)(now - alertDeadline) >= 0)
      {
        /* Alert expired: return to the previous page. */
        inAlert = 0;
        activePage = prevPage;
        if (xSemaphoreTake(g_oledMutex, pdMS_TO_TICKS(5)) == pdTRUE)
        {
          g_oledTel.alert_active = 0;
          xSemaphoreGive(g_oledMutex);
        }
        t.alert_active = 0;
      }
      /* While in alert, ignore page requests but keep them pending: a manual
       * 'p' or mode snap issued during an alert will apply after it clears. */
    }

    /* Consume any pending page request (applies now if not in alert; if in
     * alert, defer by leaving it - but we read it once so it doesn't stack). */
    {
      int32_t req = g_pageRequest;
      if (req >= 0)
      {
        int32_t isSnap = g_pageRequestIsSnap;
        g_pageRequest = -1;          /* consume */
        if (!inAlert)
        {
          activePage = (OLED_Page_t)req;
          manualLock = isSnap ? 0 : 1;   /* snap clears lock, manual sets it */
        }
        else
        {
          /* Remember the request as the page to restore after the alert. */
          prevPage = (OLED_Page_t)req;
          manualLock = isSnap ? 0 : 1;
        }
      }
    }

    /* Auto-follow the mode when not locked and not in an alert. */
    if (!inAlert && !manualLock)
    {
      activePage = OledPageForMode(t.mode);
    }

    /* 5) Render. */
    ssd1306_Fill(Black);
    OLED_DrawPage(activePage, &t, &curAlert, spin);
    ssd1306_UpdateScreen();

    spin++;
    vTaskDelay(pdMS_TO_TICKS(100));   /* 10 Hz refresh */
  }
}

/* StatsTask: prints a periodic frame-count line on a precise period
 * (vTaskDelayUntil). The LED heartbeat is unavailable (PA5 is SD SCK). */
void StartStatsTask(void *argument)
{
  TickType_t lastWake = xTaskGetTickCount();
  uint32_t   lastTotal = 0;
  uint8_t    tick = 0;

  for(;;)
  {
    /* NOTE: PA5 is now SPI1_SCK for the SD card, so the old LED heartbeat
     * (HAL_GPIO_TogglePin(GPIOA, GPIO_PIN_5)) was removed - toggling SCK as
     * GPIO would corrupt SD I/O. Heartbeat is visible via the OLED spinner. */

    /* Every 5 s emit a stats line (only when not in speed-test mode, to
     * avoid clashing with the Frames/sec output). */
    if (++tick >= 5)
    {
      tick = 0;
      if (currentMode != MODE_SPEEDTEST)
      {
        uint32_t total = statTotalFrames;
        char s[64];
        snprintf(s, sizeof(s), "[stats] total=%lu (+%lu/5s)\r\n",
                 (unsigned long)total, (unsigned long)(total - lastTotal));
        Log_Send(s);
        lastTotal = total;
      }
    }

    vTaskDelayUntil(&lastWake, pdMS_TO_TICKS(1000));
  }
}

/* Lean UART RX ISR: push the received byte onto uartRxStream and re-arm RX.
 * All menu parsing happens in CliTask. */
void HAL_UART_RxCpltCallback(UART_HandleTypeDef *huart)
{
  if (huart->Instance == USART2)
  {
    BaseType_t higherPriorityTaskWoken = pdFALSE;
    xStreamBufferSendFromISR(uartRxStream, &uartRxByte, 1, &higherPriorityTaskWoken);
    HAL_UART_Receive_IT(&huart2, &uartRxByte, 1);
    portYIELD_FROM_ISR(higherPriorityTaskWoken);
  }
}

/* CliTask: owns the UART menu / command state machine. Consumes bytes from
 * uartRxStream; handles global single-char commands and the menu/filter/TX
 * input states. strtok/strtoul are safe here (task context). */
void StartCliTask(void *argument)
{
  uint8_t ch;
  char    msg[50];
  uint8_t pageCycle = OLED_PAGE_MAIN;   /* tracks the 'p' cycle position */

  PrintMenu();

  for(;;)
  {
    /* block until at least one byte is available */
    if (xStreamBufferReceive(uartRxStream, &ch, 1, portMAX_DELAY) != 1)
    {
      continue;
    }

    /* Global command: reopen menu anytime */
    if (ch == 'm' || ch == 'M')
    {
      currentMode = MODE_IDLE;
      uartState = UART_STATE_MENU;
      /* Mode snap: IDLE -> MAIN page, clears any manual page lock. */
      g_pageRequest = (int32_t)OLED_PAGE_MAIN;
      g_pageRequestIsSnap = 1;
      PrintMenu();
      continue;
    }

    /* Global command: cycle the OLED page (manual lock). */
    if (ch == 'p' || ch == 'P')
    {
      pageCycle = (uint8_t)((pageCycle + 1) % 4);  /* MAIN/FILTER/SPEED/STATS */
      g_pageRequest = (int32_t)pageCycle;
      g_pageRequestIsSnap = 0;                      /* manual -> sets lock */
      Log_Send("OLED page ->\r\n");
      continue;
    }

    /* Global command: re-learn the known-ID allow-list for anomaly detection. */
    if (ch == 'l' || ch == 'L')
    {
      Anomaly_StartLearn(HAL_GetTick());
      Log_Send("Anomaly: re-learning known IDs...\r\n");
      continue;
    }

    /* Global command: toggle SD-card CSV logging. */
    if (ch == 's' || ch == 'S')
    {
      if (SD_Logger_IsActive())
      {
        SD_Logger_Stop();
        Log_Send("SD: logging stop requested\r\n");
      }
      else
      {
        SD_Logger_Start();
        Log_Send("SD: logging start requested\r\n");
      }
      continue;
    }

    /* Global command: report anomaly-detection status. */
    if (ch == 'd' || ch == 'D')
    {
      char status[64];
      const char *sd = SD_Logger_IsActive() ? "on"
                     : (SD_Logger_HasError() ? "ERR" : "off");
      snprintf(status, sizeof(status),
               "Detect: %s, known IDs=%u, SD=%s\r\n",
               Anomaly_IsLearning() ? "LEARNING" : "ACTIVE",
               (unsigned)Anomaly_KnownCount(),
               sd);
      Log_Send(status);
      continue;
    }

    switch (uartState)
    {
      case UART_STATE_MENU:
        switch (ch)
        {
          case '1':
            currentMode = MODE_READ_ALL;
            uartState = UART_STATE_IDLE;
            pageCycle = OLED_PAGE_MAIN;
            g_pageRequest = (int32_t)OLED_PAGE_MAIN;   /* mode snap */
            g_pageRequestIsSnap = 1;
            Log_Send("Mode: READ ALL\r\n");
            break;

          case '2':
            uartState = UART_STATE_WAIT_FILTER_ID;
            filterInputIndex = 0;
            Log_Send("Enter CAN ID (HEX):\r\n");
            break;

          case '3':
            currentMode = MODE_SPEEDTEST;
            uartState = UART_STATE_IDLE;
            speedFrameCount = 0;
            lastSpeedPrintTick = HAL_GetTick();
            pageCycle = OLED_PAGE_SPEED;
            g_pageRequest = (int32_t)OLED_PAGE_SPEED;  /* mode snap */
            g_pageRequestIsSnap = 1;
            Log_Send("Mode: SPEED TEST\r\n");
            break;

          case '4':
            currentMode = MODE_IDLE;
            uartState = UART_STATE_IDLE;
            pageCycle = OLED_PAGE_MAIN;
            g_pageRequest = (int32_t)OLED_PAGE_MAIN;   /* mode snap */
            g_pageRequestIsSnap = 1;
            Log_Send("Mode: IDLE\r\n");
            break;

          case '5':
            uartState = UART_STATE_WAIT_TX_FRAME;
            txInputIndex = 0;
            Log_Send("Enter: ID DLC DATA...\r\n");
            break;

          default:
            Log_Send("Invalid option\r\n");
            PrintMenu();
            break;
        }
        break;

      case UART_STATE_WAIT_FILTER_ID:
        if (ch == '\r' || ch == '\n')
        {
          filterInputBuffer[filterInputIndex] = '\0';
          userFilterID = strtoul(filterInputBuffer, NULL, 16);
          filterConfigured = 1;
          currentMode = MODE_READ_FILTERED;
          uartState = UART_STATE_IDLE;
          pageCycle = OLED_PAGE_FILTER;
          g_pageRequest = (int32_t)OLED_PAGE_FILTER;   /* mode snap */
          g_pageRequestIsSnap = 1;
          snprintf(msg, sizeof(msg), "Filtering ID: 0x%lX\r\n", (unsigned long)userFilterID);
          Log_Send(msg);
        }
        else
        {
          if (filterInputIndex < sizeof(filterInputBuffer) - 1)
            filterInputBuffer[filterInputIndex++] = ch;
        }
        break;

      case UART_STATE_WAIT_TX_FRAME:
        if (ch == '\r' || ch == '\n')
        {
          txInputBuffer[txInputIndex] = '\0';
          ProcessTxCommand(txInputBuffer);
          currentMode = MODE_WRITE;
          uartState = UART_STATE_IDLE;
        }
        else
        {
          if (txInputIndex < sizeof(txInputBuffer) - 1)
            txInputBuffer[txInputIndex++] = ch;
        }
        break;

      case UART_STATE_IDLE:
      default:
        break;
    }
  }
}

/* USER CODE END 4 */

void StartDefaultTask(void const * argument)
{
  for(;;)
  {
    osDelay(1);
  }
}

void HAL_TIM_PeriodElapsedCallback(TIM_HandleTypeDef *htim)
{
  if (htim->Instance == TIM6)
  {
    HAL_IncTick();
  }
  /* USER CODE BEGIN Callback 1 */
  if (htim->Instance == TIM6)
  {
    SD_TimerProc();   /* 1 ms timing for the SD-SPI driver */
  }
  /* USER CODE END Callback 1 */
}

void Error_Handler(void)
{
  /* USER CODE BEGIN Error_Handler_Debug */
  /* User can add his own implementation to report the HAL error return state */
	//char test[] = "ERROR!\r\n";

  __disable_irq();
  while (1)
  {
	  //HAL_UART_Transmit(&huart2, (uint8_t *)test, sizeof(test)-1, HAL_MAX_DELAY);
  }
  /* USER CODE END Error_Handler_Debug */
}
